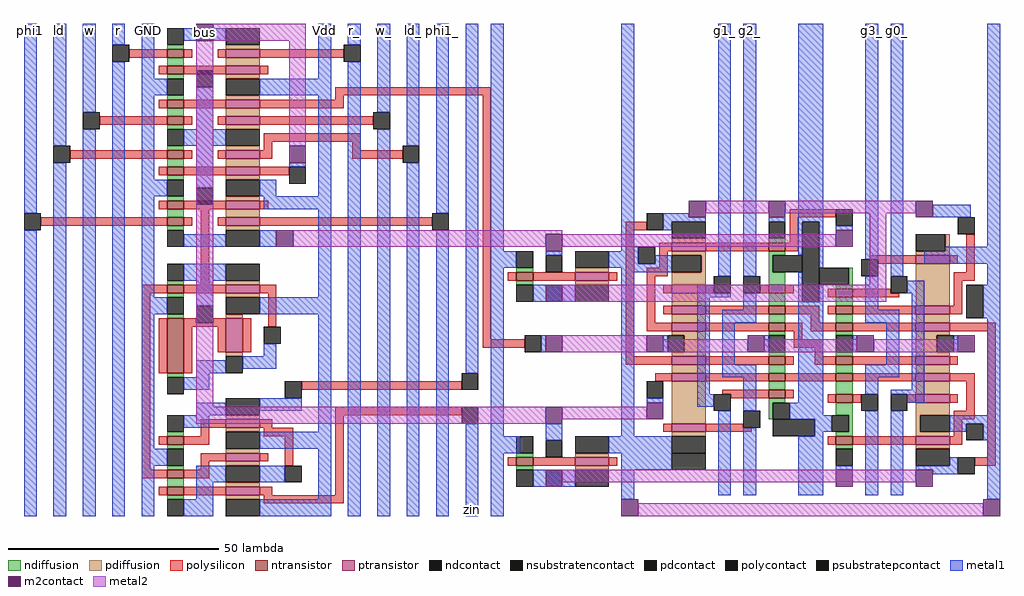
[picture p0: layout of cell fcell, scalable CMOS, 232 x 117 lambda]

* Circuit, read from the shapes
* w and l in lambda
.subckt fcell GND Vdd bus g0_ g1_ g2_ g3_ ld ld_ phi1 phi1_ r r_ w w_ zin zout
M1 n1 zin n2 GND nfet w=4 l=2
M2 GND faccumbit_0/accumbit_0/latch_0/in n1 GND nfet w=4 l=2
M3 zout n2 GND GND nfet w=4 l=2
M4 GND faccumbit_0/accumbit_0/staticizer_0/inverter_0/out faccumbit_0/accumbit_0/latch_0/in GND nfet w=4 l=13
M5 faccumbit_0/accumbit_0/staticizer_0/inverter_0/out faccumbit_0/accumbit_0/latch_0/in GND GND nfet w=4 l=2
M6 n3 phi1 fbit_0/a GND nfet w=4 l=2
M7 GND faccumbit_0/accumbit_0/latch_0/in n3 GND nfet w=4 l=2
M8 n4 bus GND GND nfet w=4 l=2
M9 faccumbit_0/accumbit_0/latch_0/in ld n4 GND nfet w=4 l=2
M10 n5 w faccumbit_0/accumbit_0/latch_0/in GND nfet w=4 l=2
M11 GND fbit_0/f n5 GND nfet w=4 l=2
M12 n6 faccumbit_0/accumbit_0/latch_0/in GND GND nfet w=4 l=2
M13 bus r n6 GND nfet w=4 l=2
M14 n7 bus fbit_0/b_ GND nfet w=4 l=2
M15 n7 fbit_0/a fbit_0/a_ GND nfet w=4 l=2
M16 n8 g1_ GND GND nfet w=4 l=2
M17 n9 bus n8 GND nfet w=4 l=2
M18 fbit_0/f fbit_0/a_ n9 GND nfet w=4 l=2
M19 n10 fbit_0/a fbit_0/f GND nfet w=4 l=2
M20 n11 fbit_0/b_ n10 GND nfet w=4 l=2
M21 GND g2_ n11 GND nfet w=4 l=2
M22 fbit_0/a_ fbit_0/a GND GND nfet w=4 l=2
M23 GND bus fbit_0/b_ GND nfet w=4 l=2
M24 n12 g3_ GND GND nfet w=4 l=2
M25 n13 bus n12 GND nfet w=4 l=2
M26 fbit_0/f fbit_0/a n13 GND nfet w=4 l=2
M27 n14 fbit_0/b_ fbit_0/f GND nfet w=4 l=2
M28 n15 fbit_0/a_ n14 GND nfet w=4 l=2
M29 GND g0_ n15 GND nfet w=4 l=2
M30 n2 zin Vdd Vdd pfet w=8 l=2
M31 Vdd faccumbit_0/accumbit_0/latch_0/in n2 Vdd pfet w=8 l=2
M32 zout n2 Vdd Vdd pfet w=8 l=2
M33 Vdd faccumbit_0/accumbit_0/staticizer_0/inverter_0/out faccumbit_0/accumbit_0/latch_0/in Vdd pfet w=4 l=8
M34 faccumbit_0/accumbit_0/staticizer_0/inverter_0/out faccumbit_0/accumbit_0/latch_0/in Vdd Vdd pfet w=8 l=2
M35 n16 phi1_ fbit_0/a Vdd pfet w=8 l=2
M36 Vdd faccumbit_0/accumbit_0/latch_0/in n16 Vdd pfet w=8 l=2
M37 n17 bus Vdd Vdd pfet w=8 l=2
M38 faccumbit_0/accumbit_0/latch_0/in ld_ n17 Vdd pfet w=8 l=2
M39 n18 w_ faccumbit_0/accumbit_0/latch_0/in Vdd pfet w=8 l=2
M40 Vdd fbit_0/f n18 Vdd pfet w=8 l=2
M41 n19 faccumbit_0/accumbit_0/latch_0/in Vdd Vdd pfet w=8 l=2
M42 bus r_ n19 Vdd pfet w=8 l=2
M43 Vdd bus fbit_0/b_ Vdd pfet w=8 l=2 m=2
M44 Vdd fbit_0/a fbit_0/a_ Vdd pfet w=8 l=2 m=2
M45 n20 g2_ Vdd Vdd pfet w=8 l=2
M46 n21 bus n20 Vdd pfet w=8 l=2
M47 fbit_0/f fbit_0/a_ n21 Vdd pfet w=8 l=2
M48 n22 fbit_0/a fbit_0/f Vdd pfet w=8 l=2
M49 n23 fbit_0/b_ n22 Vdd pfet w=8 l=2
M50 Vdd g1_ n23 Vdd pfet w=8 l=2
M51 n24 g0_ Vdd Vdd pfet w=8 l=2
M52 n25 bus n24 Vdd pfet w=8 l=2
M53 fbit_0/f fbit_0/a n25 Vdd pfet w=8 l=2
M54 n26 fbit_0/b_ fbit_0/f Vdd pfet w=8 l=2
M55 n27 fbit_0/a_ n26 Vdd pfet w=8 l=2
M56 Vdd g3_ n27 Vdd pfet w=8 l=2
.ends

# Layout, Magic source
magic
tech scmos
<< polysilicon >>
rect -37 83 0 85
rect -37 82 -35 83
rect -51 80 -35 82
rect -2 25 0 83
rect -2 23 8 25
<< metal1 >>
rect -111 97 -108 100
rect -104 97 -101 100
rect -97 97 -94 100
rect -90 97 -87 100
rect -83 97 -80 100
rect -41 97 -38 100
rect -34 97 -31 100
rect -27 97 -24 100
rect -20 97 -17 100
rect -13 97 -10 100
rect -6 97 -3 100
rect -55 47 -51 51
rect 0 46 3 100
rect 31 60 34 100
rect 54 60 57 100
rect 60 60 63 100
rect 73 60 79 100
rect 89 60 92 100
rect 95 60 98 100
rect 118 60 121 100
rect 0 42 6 46
rect 13 45 17 46
rect 0 2 3 42
rect 28 42 31 46
rect 12 22 13 26
rect 0 -2 7 2
rect 13 1 17 5
rect -6 -17 -3 -14
rect 0 -17 3 -2
rect 28 -2 32 2
<< metal2 >>
rect -70 9 -66 96
rect -47 50 17 51
rect -47 47 13 50
rect 17 47 32 50
rect 90 38 94 58
rect 17 34 94 38
rect 17 22 37 26
rect -70 5 13 9
rect 17 6 32 9
rect 17 -9 86 -6
<< polycontact >>
rect 13 41 17 45
rect 8 22 12 26
rect 13 -3 17 1
<< m2contact >>
rect -70 96 -66 100
rect -51 47 -47 51
rect 13 46 17 50
rect 13 34 17 38
rect 13 22 17 26
rect 13 5 17 9
rect 13 -10 17 -6
use faccumbit  faccumbit_0
transform 1 0 -111 0 1 12
box 0 -29 108 88
use inverter  inverter_0
transform 0 1 -1 -1 0 41
box -5 5 7 31
use inverter  inverter_1
transform 0 1 -1 -1 0 -3
box -5 5 7 31
use fbit  fbit_0
transform 1 0 31 0 1 -12
box 0 -5 90 72
<< labels >>
rlabel metal1 -111 97 -108 100 4 phi1
rlabel metal1 -104 97 -101 100 5 ld
rlabel metal1 -97 97 -94 100 5 w
rlabel metal1 -90 97 -87 100 5 r
rlabel metal1 -83 97 -80 100 5 GND
rlabel m2contact -70 96 -66 100 5 bus
rlabel metal1 -41 97 -38 100 5 Vdd
rlabel metal1 -34 97 -31 100 5 r_
rlabel metal1 -27 97 -24 100 5 w_
rlabel metal1 -20 97 -17 100 5 ld_
rlabel metal1 -13 97 -10 100 5 phi1_
rlabel metal1 -6 97 -3 100 5 zout
rlabel metal1 54 97 57 100 5 g1_
rlabel metal1 60 97 63 100 5 g2_
rlabel metal1 89 97 92 100 5 g3_
rlabel metal1 95 97 98 100 5 g0_
rlabel metal1 -6 -17 -3 -14 1 zin
<< end >>

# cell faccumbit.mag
magic
tech scmos
<< polysilicon >>
rect 58 68 60 70
rect 28 24 32 26
rect 28 -18 30 24
rect 66 1 104 3
rect 74 -5 104 -3
rect 42 -8 48 -6
rect 56 -8 59 -6
rect 42 -10 44 -8
rect 32 -12 34 -10
rect 38 -12 44 -10
rect 57 -10 64 -8
rect 42 -16 48 -14
rect 56 -16 58 -14
rect 42 -18 44 -16
rect 28 -20 34 -18
rect 38 -20 44 -18
rect 62 -17 64 -10
rect 32 -24 34 -22
rect 38 -24 48 -22
rect 56 -24 59 -22
rect 74 -24 76 -5
rect 57 -26 76 -24
<< ndiffusion >>
rect 34 -10 38 -9
rect 34 -13 38 -12
rect 34 -18 38 -17
rect 34 -22 38 -20
rect 34 -25 38 -24
<< pdiffusion >>
rect 48 -6 56 -5
rect 48 -9 56 -8
rect 48 -14 56 -13
rect 48 -17 56 -16
rect 48 -22 56 -21
rect 48 -25 56 -24
<< metal1 >>
rect 0 85 3 88
rect 7 85 10 88
rect 14 85 17 88
rect 21 85 24 88
rect 28 85 31 88
rect 70 85 73 88
rect 77 85 80 88
rect 84 85 87 88
rect 91 85 94 88
rect 98 85 101 88
rect 41 35 45 38
rect 105 5 108 88
rect 0 -29 3 0
rect 7 -29 10 0
rect 14 -29 17 0
rect 21 -29 24 0
rect 28 -13 31 0
rect 41 -5 48 -2
rect 56 -4 66 -1
rect 38 -8 44 -5
rect 70 -9 73 0
rect 56 -13 73 -9
rect 28 -17 34 -13
rect 28 -29 31 -17
rect 41 -21 48 -17
rect 56 -21 62 -17
rect 41 -25 45 -21
rect 70 -25 73 -13
rect 38 -29 45 -25
rect 56 -29 73 -25
rect 77 -29 80 0
rect 84 -29 87 0
rect 91 -29 94 0
rect 98 -29 101 0
rect 105 -29 108 -7
<< ntransistor >>
rect 34 -12 38 -10
rect 34 -20 38 -18
rect 34 -24 38 -22
<< ptransistor >>
rect 48 -8 56 -6
rect 48 -16 56 -14
rect 48 -24 56 -22
<< polycontact >>
rect 62 -1 66 3
rect 104 1 108 5
rect 62 -21 66 -17
rect 104 -7 108 -3
<< ndcontact >>
rect 34 -9 38 -5
rect 34 -17 38 -13
rect 34 -29 38 -25
<< pdcontact >>
rect 48 -5 56 -1
rect 48 -13 56 -9
rect 48 -21 56 -17
rect 48 -29 56 -25
<< m2contact >>
rect 41 84 45 88
use accumbit  accumbit_0
transform 1 0 35 0 1 69
box -35 -69 66 19
<< labels >>
rlabel metal1 105 -29 108 -26 8 zin
rlabel metal1 105 85 108 88 6 zout
rlabel metal1 0 85 3 88 4 phi1
rlabel metal1 7 85 10 88 5 ld
rlabel metal1 14 85 17 88 5 w
rlabel metal1 21 85 24 88 5 r
rlabel m2contact 41 84 45 88 5 bus
rlabel metal1 28 85 31 88 5 GND
rlabel metal1 70 85 73 88 5 Vdd
rlabel metal1 77 85 80 88 5 r_
rlabel metal1 84 85 87 88 5 w_
rlabel metal1 91 85 94 88 5 ld_
rlabel metal1 98 85 101 88 5 phi1_
rlabel polysilicon 59 69 59 69 1 in
rlabel metal1 41 35 45 38 1 out
<< end >>

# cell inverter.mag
magic
tech scmos
<< polysilicon >>
rect 0 29 2 31
rect 0 11 2 21
rect 0 5 2 7
<< ndiffusion >>
rect -1 7 0 11
rect 2 7 3 11
<< pdiffusion >>
rect -1 21 0 29
rect 2 21 3 29
<< metal1 >>
rect 3 11 7 21
<< ntransistor >>
rect 0 7 2 11
<< ptransistor >>
rect 0 21 2 29
<< ndcontact >>
rect -5 7 -1 11
rect 3 7 7 11
<< pdcontact >>
rect -5 21 -1 29
rect 3 21 7 29
<< labels >>
rlabel metal1 5 16 5 16 7 out
<< end >>

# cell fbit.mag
magic
tech scmos
<< polysilicon >>
rect 1 63 6 65
rect 40 66 51 68
rect 1 33 3 63
rect 40 60 42 66
rect 9 58 12 60
rect 20 58 35 60
rect 39 58 42 60
rect 9 54 11 58
rect 6 52 11 54
rect 6 41 8 52
rect 10 48 12 50
rect 20 48 22 50
rect 33 48 35 50
rect 39 48 41 50
rect 59 56 70 57
rect 61 55 70 56
rect 78 55 80 57
rect 49 47 51 49
rect 55 48 64 49
rect 55 47 66 48
rect 82 53 84 62
rect 79 51 84 53
rect 79 45 81 51
rect 10 43 12 45
rect 20 43 35 45
rect 39 43 47 45
rect 49 43 51 45
rect 55 43 70 45
rect 78 43 81 45
rect 45 41 47 43
rect 6 39 12 41
rect 20 39 35 41
rect 39 39 43 41
rect 45 39 51 41
rect 55 39 70 41
rect 78 39 89 41
rect 41 37 43 39
rect 41 35 48 37
rect 46 33 48 35
rect 1 31 12 33
rect 20 31 35 33
rect 39 31 41 33
rect 46 31 51 33
rect 55 31 70 33
rect 78 31 80 33
rect 8 27 12 29
rect 20 27 35 29
rect 39 27 51 29
rect 55 27 70 29
rect 78 27 84 29
rect 24 24 35 25
rect 26 23 35 24
rect 39 23 41 25
rect 49 22 51 24
rect 55 22 57 24
rect 10 15 12 17
rect 20 16 29 17
rect 68 22 70 24
rect 78 22 80 24
rect 20 15 31 16
rect 82 20 84 27
rect 79 18 84 20
rect 79 14 81 18
rect 49 12 51 14
rect 55 12 70 14
rect 78 12 81 14
rect 87 9 89 39
rect 84 7 89 9
<< ndiffusion >>
rect 35 60 39 61
rect 35 57 39 58
rect 35 53 36 57
rect 35 50 39 53
rect 35 45 39 48
rect 54 50 55 54
rect 51 49 55 50
rect 51 45 55 47
rect 35 41 39 43
rect 51 41 55 43
rect 35 38 39 39
rect 51 38 55 39
rect 35 33 39 34
rect 51 33 55 34
rect 35 29 39 31
rect 51 29 55 31
rect 35 25 39 27
rect 51 24 55 27
rect 35 22 39 23
rect 35 18 36 22
rect 51 19 55 22
rect 54 15 55 19
rect 51 14 55 15
rect 51 11 55 12
<< pdiffusion >>
rect 12 60 20 61
rect 12 57 20 58
rect 19 53 20 57
rect 12 50 20 53
rect 12 45 20 48
rect 77 58 78 62
rect 70 57 78 58
rect 70 45 78 55
rect 12 41 20 43
rect 70 41 78 43
rect 12 38 20 39
rect 15 34 20 38
rect 12 33 20 34
rect 70 38 78 39
rect 70 34 75 38
rect 70 33 78 34
rect 12 29 20 31
rect 70 29 78 31
rect 12 17 20 27
rect 70 24 78 27
rect 12 14 20 15
rect 70 19 78 22
rect 70 15 71 19
rect 70 14 78 15
rect 70 11 78 12
<< metal1 >>
rect 0 59 3 72
rect 10 66 16 67
rect 10 65 20 66
rect 10 63 12 65
rect 0 55 4 59
rect 8 55 12 57
rect 0 53 12 55
rect 0 14 3 53
rect 23 52 26 72
rect 18 48 22 50
rect 18 47 26 48
rect 29 52 32 72
rect 35 65 39 66
rect 42 65 48 72
rect 42 57 43 65
rect 10 34 11 38
rect 6 22 10 23
rect 18 24 21 47
rect 29 44 32 48
rect 24 41 32 44
rect 42 46 43 53
rect 47 54 48 65
rect 51 63 55 64
rect 58 56 61 72
rect 47 46 48 50
rect 24 31 27 41
rect 34 34 35 38
rect 24 28 32 31
rect 18 21 22 24
rect 0 6 12 14
rect 0 -1 3 6
rect 23 0 26 20
rect 29 20 32 28
rect 42 22 48 46
rect 58 44 61 52
rect 64 52 67 72
rect 74 66 83 69
rect 87 59 90 72
rect 77 58 90 59
rect 72 55 90 58
rect 68 48 72 51
rect 87 50 90 55
rect 58 41 66 44
rect 55 34 56 38
rect 63 31 66 41
rect 58 28 66 31
rect 58 24 61 28
rect 69 25 72 48
rect 86 42 90 50
rect 79 34 80 38
rect 40 19 48 22
rect 40 18 50 19
rect 29 0 32 16
rect 46 15 50 18
rect 46 14 48 15
rect 42 0 48 14
rect 51 6 55 7
rect 58 0 61 20
rect 64 24 72 25
rect 68 22 72 24
rect 64 0 67 20
rect 87 19 90 42
rect 78 17 90 19
rect 78 15 82 17
rect 86 13 90 17
rect 78 7 80 9
rect 70 6 80 7
rect 74 5 80 6
rect 87 -1 90 13
<< metal2 >>
rect 20 67 35 70
rect 39 67 70 70
rect 0 59 51 62
rect 10 34 30 37
rect 34 34 56 37
rect 60 34 80 37
rect 0 18 6 21
rect 55 3 70 6
rect 4 -5 86 -2
<< ntransistor >>
rect 35 58 39 60
rect 35 48 39 50
rect 51 47 55 49
rect 35 43 39 45
rect 51 43 55 45
rect 35 39 39 41
rect 51 39 55 41
rect 35 31 39 33
rect 51 31 55 33
rect 35 27 39 29
rect 51 27 55 29
rect 35 23 39 25
rect 51 22 55 24
rect 51 12 55 14
<< ptransistor >>
rect 12 58 20 60
rect 12 48 20 50
rect 70 55 78 57
rect 12 43 20 45
rect 70 43 78 45
rect 12 39 20 41
rect 70 39 78 41
rect 12 31 20 33
rect 70 31 78 33
rect 12 27 20 29
rect 70 27 78 29
rect 12 15 20 17
rect 70 22 78 24
rect 70 12 78 14
<< polycontact >>
rect 6 63 10 67
rect 22 48 26 52
rect 29 48 33 52
rect 51 64 55 68
rect 80 62 84 66
rect 57 52 61 56
rect 64 48 68 52
rect 6 23 10 27
rect 22 20 26 24
rect 29 16 33 20
rect 57 20 61 24
rect 64 20 68 24
rect 80 5 84 9
<< ndcontact >>
rect 35 61 39 65
rect 36 53 43 57
rect 47 50 54 54
rect 35 34 39 38
rect 51 34 55 38
rect 36 18 40 22
rect 50 15 54 19
rect 51 7 55 11
<< pdcontact >>
rect 12 61 20 65
rect 12 53 19 57
rect 70 58 77 62
rect 11 34 15 38
rect 75 34 79 38
rect 71 15 78 19
rect 12 10 20 14
rect 70 7 78 11
<< m2contact >>
rect 16 66 20 70
rect 35 66 39 70
rect 6 34 10 38
rect 6 18 10 22
rect 51 59 55 63
rect 30 34 34 38
rect 70 66 74 70
rect 56 34 60 38
rect 80 34 84 38
rect 51 2 55 6
rect 70 2 74 6
rect 0 -5 4 -1
rect 86 -5 90 -1
<< psubstratepcontact >>
rect 43 46 47 65
rect 36 14 46 18
<< nsubstratencontact >>
rect 4 55 8 59
rect 82 42 86 50
rect 82 13 86 17
rect 12 6 20 10
<< labels >>
rlabel metal2 4 20 4 20 3 b
rlabel metal2 62 5 62 5 1 b_
rlabel metal2 27 69 27 69 5 a_
rlabel metal1 24 71 24 71 5 g1_
rlabel metal1 30 71 30 71 5 g2_
rlabel metal1 65 71 65 71 5 g0_
rlabel metal1 59 71 59 71 5 g3_
rlabel metal1 44 71 44 71 5 GND
rlabel metal1 1 71 1 71 4 Vdd
rlabel metal2 4 61 4 61 3 a
rlabel m2contact 58 36 58 36 1 f
<< end >>

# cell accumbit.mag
magic
tech scmos
<< polysilicon >>
rect -10 11 -3 13
rect 23 11 41 13
rect 23 -1 25 1
rect -17 -5 -3 -3
rect 23 -5 48 -3
rect 22 -9 45 -7
rect -24 -13 -3 -11
rect 22 -13 24 -9
rect 43 -11 45 -9
rect 43 -13 55 -11
rect 23 -17 28 -15
rect -31 -29 -3 -27
rect 7 -43 9 -24
rect 23 -29 62 -27
<< metal1 >>
rect -35 -26 -32 19
rect -28 -10 -25 19
rect -21 -2 -18 19
rect -14 14 -11 19
rect -35 -69 -32 -30
rect -28 -69 -25 -14
rect -21 -69 -18 -6
rect -14 -69 -11 10
rect -7 6 -4 19
rect -7 2 -1 6
rect 35 6 38 19
rect 42 14 45 19
rect -7 -18 -4 2
rect -7 -22 -1 -18
rect 6 -20 10 4
rect 21 2 38 6
rect 28 -15 32 -14
rect -7 -46 -4 -22
rect 21 -22 25 -18
rect 35 -22 38 2
rect 22 -25 38 -22
rect 6 -34 10 -31
rect 35 -46 38 -25
rect -7 -50 -1 -46
rect 27 -50 38 -46
rect -7 -69 -4 -50
rect 35 -69 38 -50
rect 42 -69 45 10
rect 49 -2 52 19
rect 49 -69 52 -6
rect 56 -10 59 19
rect 56 -69 59 -14
rect 63 -26 66 19
rect 63 -69 66 -30
<< metal2 >>
rect 10 15 32 19
rect 28 -10 32 15
<< polycontact >>
rect -14 10 -10 14
rect 41 10 45 14
rect 6 4 10 8
rect -21 -6 -17 -2
rect 48 -6 52 -2
rect -28 -14 -24 -10
rect 55 -14 59 -10
rect 28 -19 32 -15
rect 6 -24 10 -20
rect -35 -30 -31 -26
rect 62 -30 66 -26
<< m2contact >>
rect 6 15 10 19
rect 28 -14 32 -10
use latch  latch_0
transform 0 1 -1 1 0 8
box -6 -2 10 24
use latch  latch_1
transform 0 1 -1 -1 0 0
box -6 -2 10 24
use latch  latch_3
transform 0 1 -1 1 0 -16
box -6 -2 10 24
use latch  latch_2
transform 0 1 -1 -1 0 -24
box -6 -2 10 24
use staticizer  staticizer_0
transform 0 1 -5 1 0 -50
box -19 2 12 32
<< labels >>
rlabel metal1 35 16 38 19 6 Vdd
rlabel metal1 6 -34 10 -31 1 out
rlabel metal1 -7 16 -4 19 4 GND
rlabel m2contact 6 15 10 19 5 bus
rlabel metal1 -14 16 -11 19 5 r
rlabel metal1 42 16 45 19 5 r_
rlabel polysilicon 24 0 24 0 1 in
rlabel metal1 -21 16 -18 19 5 w
rlabel metal1 49 16 52 19 5 w_
rlabel metal1 56 16 59 19 5 ld_
rlabel metal1 -28 16 -25 19 5 ld
rlabel metal1 -35 16 -32 19 4 phi1
rlabel metal1 63 16 66 19 6 phi1_
<< end >>

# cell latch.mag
magic
tech scmos
<< polysilicon >>
rect -1 22 1 24
rect 3 22 5 24
rect -1 4 1 14
rect 3 12 5 14
rect 3 4 5 6
rect -1 -2 1 0
rect 3 -2 5 0
<< ndiffusion >>
rect -2 0 -1 4
rect 1 0 3 4
rect 5 0 6 4
<< pdiffusion >>
rect -2 14 -1 22
rect 1 14 3 22
rect 5 14 6 22
<< metal1 >>
rect 7 4 10 14
<< ntransistor >>
rect -1 0 1 4
rect 3 0 5 4
<< ptransistor >>
rect -1 14 1 22
rect 3 14 5 22
<< ndcontact >>
rect -6 0 -2 4
rect 6 0 10 4
<< pdcontact >>
rect -6 14 -2 22
rect 6 14 10 22
<< labels >>
rlabel polysilicon 3 22 5 24 5 latch_
rlabel polysilicon 3 -2 5 0 1 latch
rlabel pdcontact -6 14 -2 22 3 Vdd
rlabel ndcontact -6 0 -2 4 2 GND
rlabel polysilicon -1 8 1 10 1 in
rlabel metal1 7 8 10 10 7 out
<< end >>

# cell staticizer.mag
magic
tech scmos
<< polysilicon >>
rect -3 28 7 30
rect -9 22 -1 24
rect -9 16 -1 18
rect -3 15 -1 16
rect -3 11 -2 15
rect -3 10 -1 11
rect -14 8 -1 10
rect -14 2 -1 4
<< ndiffusion >>
rect -15 4 -14 8
rect -1 4 0 8
<< pdiffusion >>
rect -10 18 -9 22
rect -1 18 0 22
<< metal1 >>
rect -13 27 -7 30
rect -13 22 -10 27
rect 0 26 4 32
rect -14 14 -11 18
rect -18 11 -11 14
rect 2 11 12 15
rect -18 8 -15 11
<< ntransistor >>
rect -14 4 -1 8
<< ptransistor >>
rect -9 18 -1 22
<< polycontact >>
rect -7 27 -3 31
rect -2 11 2 15
<< ndcontact >>
rect -19 4 -15 8
rect 0 4 4 8
<< pdcontact >>
rect -14 18 -10 22
rect 0 18 4 26
use inverter  inverter_0
transform 1 0 5 0 1 -3
box -5 5 7 31
<< labels >>
rlabel metal1 0 28 4 32 5 Vdd
rlabel ndcontact 0 4 4 8 1 GND
rlabel polycontact -7 27 -3 31 5 in
<< end >>
